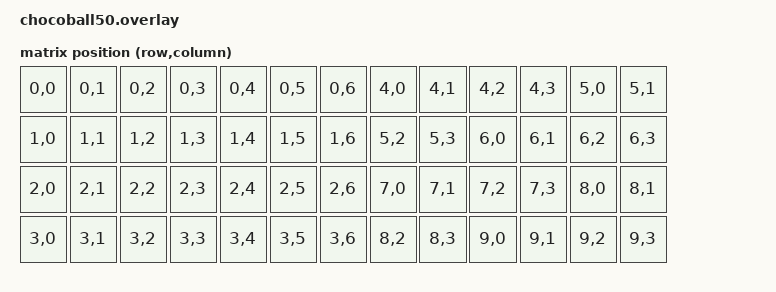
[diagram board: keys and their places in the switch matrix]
/*
 * Copyright (c) 2024 The ZMK Contributors
 * SPDX-License-Identifier: MIT
 */

#include <dt-bindings/zmk/matrix_transform.h>
#include <dt-bindings/led/led.h>

/ {
    chosen {
        zmk,kscan = &kscan0;
        zmk,matrix-transform = &default_transform;
        zmk,underglow = &led_strip;
        zmk,ext-power = &ext_power_ctrl;
    };

    /* External power control for RGB LEDs
     * NOTE: This uses P1.13. Adjust based on your hardware.
     */
    ext_power_ctrl: ext_power_ctrl {
        compatible = "zmk,ext-power-generic";
        label = "EXT_POWER";
        control-gpios = <&gpio1 13 GPIO_ACTIVE_HIGH>;
        init-delay-ms = <50>;
    };

    /* Duplex Matrix Transform - 11 rows × 7 columns */
    default_transform: keymap_transform_0 {
        compatible = "zmk,matrix-transform";
        columns = <7>;
        rows = <11>;
        map = <
            RC(0,0) RC(0,1) RC(0,2) RC(0,3) RC(0,4) RC(0,5) RC(0,6) RC(4,0) RC(4,1) RC(4,2) RC(4,3) RC(5,0) RC(5,1)
            RC(1,0) RC(1,1) RC(1,2) RC(1,3) RC(1,4) RC(1,5) RC(1,6) RC(5,2) RC(5,3) RC(6,0) RC(6,1) RC(6,2) RC(6,3)
            RC(2,0) RC(2,1) RC(2,2) RC(2,3) RC(2,4) RC(2,5) RC(2,6) RC(7,0) RC(7,1) RC(7,2) RC(7,3) RC(8,0) RC(8,1)
            RC(3,0) RC(3,1) RC(3,2) RC(3,3) RC(3,4) RC(3,5) RC(3,6) RC(8,2) RC(8,3) RC(9,0) RC(9,1) RC(9,2) RC(9,3)
        >;
    };

    /* Japanese Duplex Matrix */
    kscan0: kscan {
        compatible = "zmk,kscan-gpio-duplex";
        status = "okay";

        gpios
            = <&pro_micro 1 GPIO_ACTIVE_HIGH>
            , <&pro_micro 0 GPIO_ACTIVE_HIGH>
            , <&pro_micro 2 GPIO_ACTIVE_HIGH>
            , <&pro_micro 3 GPIO_ACTIVE_HIGH>
            , <&pro_micro 4 GPIO_ACTIVE_HIGH>
            , <&pro_micro 5 GPIO_ACTIVE_HIGH>
            , <&pro_micro 6 GPIO_ACTIVE_HIGH>
            , <&pro_micro 7 GPIO_ACTIVE_HIGH>
            , <&pro_micro 8 GPIO_ACTIVE_HIGH>
            , <&pro_micro 9 GPIO_ACTIVE_HIGH>
            , <&pro_micro 10 GPIO_ACTIVE_HIGH>
            ;

        duplex-split-index = <7>;
        debounce-period-ms = <5>;
        poll-period-ms = <10>;
    };

    /* Horizontal Rotary Encoder
     * Temporarily disabled - P1.01/P1.02 are used for trackball I2C
     */
    /*
    encoder: encoder {
        compatible = "alps,ec11";
        label = "ENCODER";
        a-gpios = <&gpio1 1 (GPIO_ACTIVE_HIGH | GPIO_PULL_UP)>;
        b-gpios = <&gpio1 2 (GPIO_ACTIVE_HIGH | GPIO_PULL_UP)>;
        steps = <30>;
        status = "okay";
    };

    sensors: sensors {
        compatible = "zmk,keymap-sensors";
        sensors = <&encoder>;
        triggers-per-rotation = <15>;
    };
    */
};

/* I2C1 configuration for trackball
 * Uses A0/P0.04 (SDA) and A1/P0.05 (SCL) - freed by duplex matrix.
 * I2C pins configured in boards/nice_nano.overlay.
 * Encoder uses P1.01/P1.02 (extra GPIO on back of nice!nano).
 */
&i2c1 {
    trackball: trackball@a {
        compatible = "palette,az1uball";
        reg = <0x0a>;
        label = "TRACKBALL";
        invert-x;
        /* Uncomment to adjust trackball behavior:
         * invert-y;
         * swap-xy;
         */
    };
};
